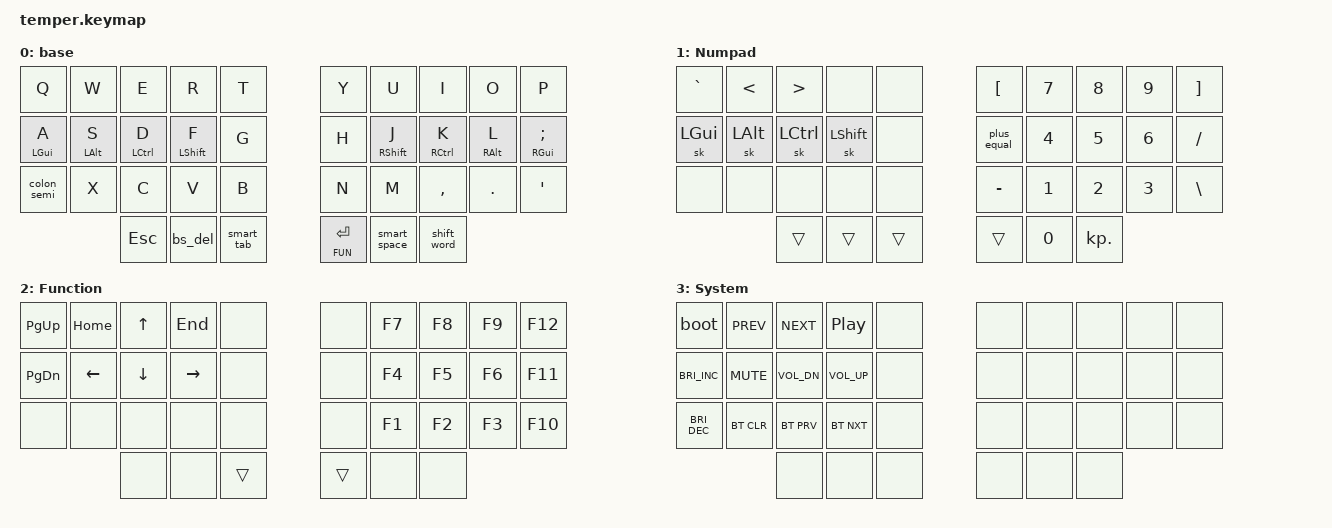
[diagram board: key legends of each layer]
/*
 * https://github.com/zmkfirmware/zmk/blob/main/app/include/dt-bindings/zmk/keys.h
 */

#include <behaviors.dtsi>
#include "zmk-helpers/helper.h"
#include "zmk-helpers/key-labels/36.h"
#include <dt-bindings/zmk/keys.h>
#include <dt-bindings/zmk/bt.h>

#define DEF 0
#define NUM 1
#define FUN 2
#define SYS 3

#define XXX &none
#define ___ &trans

#define QUICK_TAP_MS 175

#define KEYS_L LT0 LT1 LT2 LT3 LT4 LM0 LM1 LM2 LM3 LM4 LB0 LB1 LB2 LB3 LB4 /* left hand  */
#define KEYS_R RT0 RT1 RT2 RT3 RT4 RM0 RM1 RM2 RM3 RM4 RB0 RB1 RB2 RB3 RB4 /* right hand */
#define THUMBS LH2 LH1 LH0 RH0 RH1 RH2                                      /* thumbs     */

/{ chosen { zmk,physical-layout = &foostan_corne_5col_layout; }; };

// ---------- SETTINGS ----------

&sk {  // sticky-key config
    release-after-ms = <1000>; // release after 1s
    quick-release;             // no double capitalization when rolling keys
};

&sl {  // sticky-layer config
    ignore-modifiers;          // allow chording sticky mods & layers
};

&lt {  // layer-tap config
    flavor = "balanced";
    tapping-term-ms = <200>;
    quick-tap-ms = <QUICK_TAP_MS>;
};

// ----------- COMBOS -----------
#undef COMBO_HOOK
#define COMBO_HOOK require-prior-idle-ms = <150>;
#define COMBO_TERM_FAST 25
#define COMBO_TERM_SLOW 50

// left and right brace { }
ZMK_COMBO(lbrc, &kp LBRC, RT1 RT2, DEF NUM, COMBO_TERM_FAST)
ZMK_COMBO(rbrc, &kp RBRC, RT2 RT3, DEF NUM, COMBO_TERM_FAST)

// left and right bracket [ ]
ZMK_COMBO(lbkt, &kp LBKT, RT0 RT1, DEF, COMBO_TERM_FAST)
ZMK_COMBO(rbkt, &kp RBKT, RT3 RT4, DEF, COMBO_TERM_FAST)

// left and right parenthesis ( )
ZMK_COMBO(lpar, &kp LPAR, RM1 RM2, DEF NUM, COMBO_TERM_FAST)
ZMK_COMBO(rpar, &kp RPAR, RM2 RM3, DEF NUM, COMBO_TERM_FAST)

// left and right less-then and greater-then < >
ZMK_COMBO(lt, &kp LT, LT3 LT2, DEF, COMBO_TERM_FAST)
ZMK_COMBO(gt, &kp GT, LT2 LT1, DEF, COMBO_TERM_FAST)

ZMK_COMBO(under, &kp UNDER, RB1 RB2, DEF NUM, COMBO_TERM_FAST)
ZMK_COMBO(equal, &kp EQUAL, RB2 RB3, DEF NUM, COMBO_TERM_FAST)

// macOS shift space left and right
ZMK_COMBO(workspace_left,  &kp LC(LEFT),  LM3 LM2, NUM FUN, COMBO_TERM_FAST)
ZMK_COMBO(workspace_right, &kp LC(RIGHT), LM2 LM1, NUM FUN, COMBO_TERM_FAST)

// left and right arrow '->'
ZMK_BEHAVIOR(larr, macro,
    wait-ms = <0>;
    tap-ms = <5>;
    bindings = <&kp LT &kp MINUS>;
)
ZMK_BEHAVIOR(rarr, macro,
    wait-ms = <0>;
    tap-ms = <5>;
    bindings = <&kp MINUS &kp GT>;
)
ZMK_COMBO(left_arrow,  &larr, LM3 LM2, DEF, COMBO_TERM_FAST)
ZMK_COMBO(right_arrow, &rarr, LM2 LM1, DEF, COMBO_TERM_FAST)


// ----------- KEYMAP -----------

// Cross-hand only home row mods
#define MAKE_HRM(NAME, HOLD, TAP, TRIGGER_POS) \
    ZMK_BEHAVIOR(NAME, hold_tap, \
        flavor = "balanced"; \
        tapping-term-ms = <280>; \
        quick-tap-ms = <QUICK_TAP_MS>; \
        require-prior-idle-ms = <150>; \
        bindings = <HOLD>, <TAP>; \
        hold-trigger-key-positions = <TRIGGER_POS>; \
        hold-trigger-on-release; \
    )
MAKE_HRM(hml, &kp, &kp, KEYS_R THUMBS)  // left-hand HRMs
MAKE_HRM(hmr, &kp, &kp, KEYS_L THUMBS)  // right-hand HRMs

// tap: sticky shift | shift + tap or double-tap: caps word | hold: navigation layer
#define smart_shift smart_shift_inner SYM 0
ZMK_BEHAVIOR(smart_shift_inner, hold_tap,
    flavor = "balanced";
    tapping-term-ms = <200>;
    quick-tap-ms = <QUICK_TAP_MS>;
    bindings = <&mo>, <&shift_word>;
)
ZMK_BEHAVIOR(shift_word, mod_morph,
    bindings = <&sk LSHFT>, <&caps_word>;
    mods = <MOD_LSFT>;
)

// tap: backspace | lshft + tap: delete | rshft + tap: shift-delete
ZMK_BEHAVIOR(bs_del, mod_morph,
    bindings = <&kp BSPC>, <&kp DEL>;
    mods = <(MOD_LSFT|MOD_RSFT)>;
    /* keep-mods = <MOD_RSFT>; */
)

// reuse basic mod-morph scheme
#define SIMPLE_MORPH(NAME, MOD, BINDING1, BINDING2) \
    ZMK_BEHAVIOR(NAME, mod_morph, \
        mods = <(MOD_L ## MOD|MOD_R ## MOD)>; \
        bindings = <BINDING1>, <BINDING2>; \
    )

// tap: colon | shift + tap: semicolon
SIMPLE_MORPH(colon_semi, SFT, &kp COLON, &kp SEMI)

// tap: plus | shift + tap: equal
SIMPLE_MORPH(plus_equal, SFT, &kp PLUS, &kp EQUAL)

// tap: space | shift + tap: dot -> space -> sticky shift | hold: space
SIMPLE_MORPH(smart_space, SFT, &kp SPACE, &dot_space)
ZMK_BEHAVIOR(dot_space, macro,
    wait-ms = <0>;
    tap-ms = <5>;
    bindings = <&kp DOT &kp SPACE &sk LSHFT>;
)

// tap: TAB | control + tap: TILDE | control + shift + tap: GRAVE | hold: numpad layer
#define smart_tab smart_tab_inner NUM 0
ZMK_BEHAVIOR(smart_tab_inner, hold_tap,
    flavor = "balanced";
    tapping-term-ms = <200>;
    quick-tap-ms = <QUICK_TAP_MS>;
    bindings = <&mo>, <&tab_tilde_grave>;
)
SIMPLE_MORPH(tab_tilde_grave, CTL, &kp TAB, &tilde_grave)
SIMPLE_MORPH(tilde_grave, SFT, &kp TILDE, &tilde_grave_inner)
ZMK_BEHAVIOR(tilde_grave_inner, mod_morph,
    mods = <(MOD_LSFT|MOD_LCTL)>; // need to clear the outer mods
    bindings = <&kp GRAVE>, <&kp GRAVE>;
)

// double-tap to enter bootloader
ZMK_BEHAVIOR(boot, tap_dance,
    bindings = <&none>, <&bootloader>;
)

ZMK_CONDITIONAL_LAYER(SYS,NUM FUN, SYS)

ZMK_LAYER(base,
// ╭─────────────┬─────────────┬─────────────┬─────────────┬─────────────╮   ╭─────────────┬─────────────┬─────────────┬─────────────┬─────────────╮
        &kp Q         &kp W         &kp E         &kp R         &kp T            &kp Y         &kp U         &kp I         &kp O         &kp P
// ├─────────────┼─────────────┼─────────────┼─────────────┼─────────────┤   ├─────────────┼─────────────┼─────────────┼─────────────┼─────────────┤
     &hml LGUI A   &hml LALT S  &hml LCTRL D  &hml LSHFT F     &kp G             &kp H     &hmr RSHFT J  &hmr RCTRL K   &hmr RALT L   &hmr RGUI SEMI
// ├─────────────┼─────────────┼─────────────┼─────────────┼─────────────┤   ├─────────────┼─────────────┼─────────────┼─────────────┼─────────────┤
     &colon_semi      &kp X         &kp C         &kp V         &kp B             &kp N         &kp M        &kp COMMA       &kp DOT         &kp APOS
// ╰─────────────┴─────────────┼─────────────┼─────────────┼─────────────┤   ├─────────────┼─────────────┼─────────────┼─────────────┴─────────────╯
                                   &kp ESC       &bs_del      &smart_tab      &lt FUN ENTER &smart_space   &shift_word
//                             ╰─────────────┴─────────────┴─────────────╯   ╰─────────────┴─────────────┴─────────────╯
)

ZMK_LAYER(Numpad,
// ╭─────────────┬─────────────┬─────────────┬─────────────┬─────────────╮   ╭─────────────┬─────────────┬─────────────┬─────────────┬─────────────╮
      &kp GRAVE      &kp LT        &kp GT          XXX           XXX            &kp LBKT       &kp N7        &kp N8        &kp N9       &kp RBKT
// ├─────────────┼─────────────┼─────────────┼─────────────┼─────────────┤   ├─────────────┼─────────────┼─────────────┼─────────────┼─────────────┤
      &sk LGUI      &sk LALT      &sk LCTRL     &sk LSHFT        XXX           &plus_equal     &kp N4        &kp N5        &kp N6       &kp SLASH
// ├─────────────┼─────────────┼─────────────┼─────────────┼─────────────┤   ├─────────────┼─────────────┼─────────────┼─────────────┼─────────────┤
         XXX           XXX           XXX           XXX           XXX            &kp MINUS      &kp N1        &kp N2        &kp N3     &kp BACKSLASH
// ╰─────────────┴─────────────┼─────────────┼─────────────┼─────────────┤   ├─────────────┼─────────────┼─────────────┼─────────────┴─────────────╯
                                     ___           ___           ___               ___         &kp N0      &kp KP_DOT
//                             ╰─────────────┴─────────────┴─────────────╯   ╰─────────────┴─────────────┴─────────────╯
)

ZMK_LAYER(Function,
// ╭─────────────┬─────────────┬─────────────┬─────────────┬─────────────╮   ╭─────────────┬─────────────┬─────────────┬─────────────┬─────────────╮
      &kp PG_UP     &kp HOME       &kp UP        &kp END         XXX               XXX         &kp F7         &kp F8       &kp F9        &kp F12
// ├─────────────┼─────────────┼─────────────┼─────────────┼─────────────┤   ├─────────────┼─────────────┼─────────────┼─────────────┼─────────────┤
      &kp PG_DN     &kp LEFT      &kp DOWN      &kp RIGHT        XXX               XXX         &kp F4         &kp F5       &kp F6        &kp F11
// ├─────────────┼─────────────┼─────────────┼─────────────┼─────────────┤   ├─────────────┼─────────────┼─────────────┼─────────────┼─────────────┤
         XXX           XXX           XXX           XXX           XXX               XXX         &kp F1         &kp F2       &kp F3        &kp F10
// ╰─────────────┴─────────────┼─────────────┼─────────────┼─────────────┤   ├─────────────┼─────────────┼─────────────┼─────────────┴─────────────╯
                                     XXX           XXX           ___               ___           XXX           XXX
//                             ╰─────────────┴─────────────┴─────────────╯   ╰─────────────┴─────────────┴─────────────╯
)

ZMK_LAYER(System,
// ╭─────────────┬─────────────┬─────────────┬─────────────┬─────────────╮   ╭─────────────┬─────────────┬─────────────┬─────────────┬─────────────╮
        &boot      &kp C_PREV    &kp C_NEXT     &kp C_PP         XXX               XXX           XXX           XXX           XXX           XXX
// ├─────────────┼─────────────┼─────────────┼─────────────┼─────────────┤   ├─────────────┼─────────────┼─────────────┼─────────────┼─────────────┤
    &kp C_BRI_INC  &kp C_MUTE   &kp C_VOL_DN  &kp C_VOL_UP       XXX               XXX           XXX           XXX           XXX           XXX
// ├─────────────┼─────────────┼─────────────┼─────────────┼─────────────┤   ├─────────────┼─────────────┼─────────────┼─────────────┼─────────────┤
    &kp C_BRI_DEC  &bt BT_CLR    &bt BT_PRV    &bt BT_NXT        XXX               XXX           XXX           XXX           XXX           XXX
// ╰─────────────┴─────────────┼─────────────┼─────────────┼─────────────┤   ├─────────────┼─────────────┼─────────────┼─────────────┴─────────────╯
                                     XXX           XXX           XXX               XXX           XXX           XXX
//                             ╰─────────────┴─────────────┴─────────────╯   ╰─────────────┴─────────────┴─────────────╯
)

// ╭─────────────┬─────────────┬─────────────┬─────────────┬─────────────╮   ╭─────────────┬─────────────┬─────────────┬─────────────┬─────────────╮
//       XXX           XXX           XXX           XXX           XXX               XXX           XXX           XXX           XXX           XXX
// ├─────────────┼─────────────┼─────────────┼─────────────┼─────────────┤   ├─────────────┼─────────────┼─────────────┼─────────────┼─────────────┤
//       XXX           XXX           XXX           XXX           XXX               XXX           XXX           XXX           XXX           XXX
// ├─────────────┼─────────────┼─────────────┼─────────────┼─────────────┤   ├─────────────┼─────────────┼─────────────┼─────────────┼─────────────┤
//       XXX           XXX           XXX           XXX           XXX               XXX           XXX           XXX           XXX           XXX
// ╰─────────────┴─────────────┼─────────────┼─────────────┼─────────────┤   ├─────────────┼─────────────┼─────────────┼─────────────┴─────────────╯
//                                   XXX           XXX           XXX               XXX           XXX           XXX
//                             ╰─────────────┴─────────────┴─────────────╯   ╰─────────────┴─────────────┴─────────────╯

// vim: filetype=c
